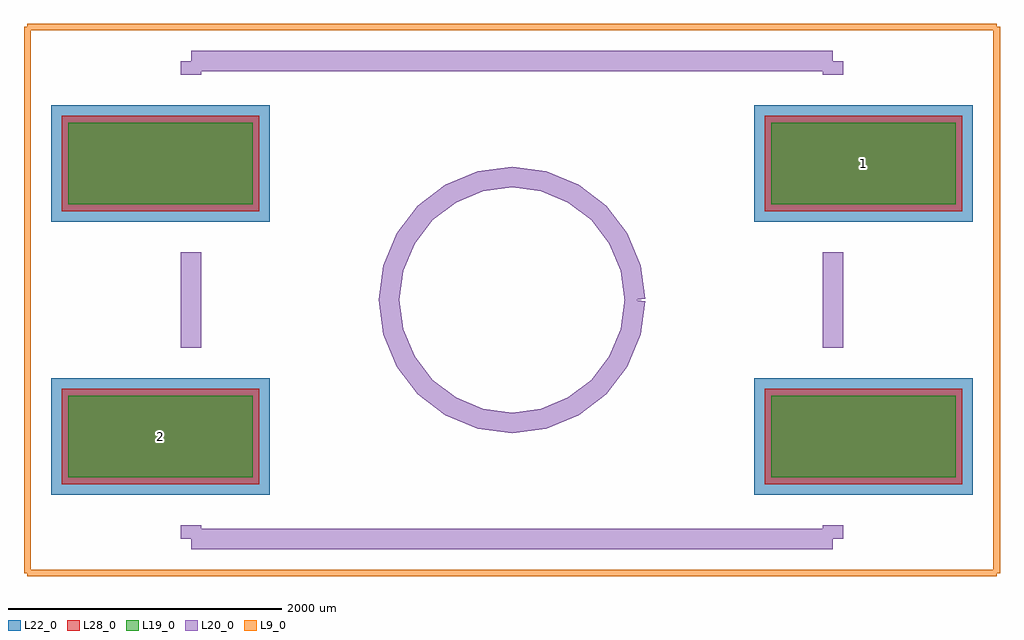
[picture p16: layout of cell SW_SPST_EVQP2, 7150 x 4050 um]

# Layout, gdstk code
import gdstk
lib = gdstk.Library(unit=1e-6, precision=1e-09)
def R(c, l, rs):  # rectangles x0, y0, x1, y1
    for r in rs: c.add(gdstk.rectangle(r[:2], r[2:], *l))
L9_0 = (9, 0)
L19_0 = (19, 0)
L20_0 = (20, 0)
L22_0 = (22, 0)
L28_0 = (28, 0)

sw_spst_evqp2 = lib.new_cell('SW_SPST_EVQP2')
R(sw_spst_evqp2, L19_0, [(-3250,-1300,-1900,-700), (1900,-1300,3250,-700), (-3250,700,-1900,1300), (1900,700,3250,1300)])
R(sw_spst_evqp2, L22_0, [(-3375,-1425,-1775,-575), (1775,-1425,3375,-575), (-3375,575,-1775,1425), (1775,575,3375,1425)])
R(sw_spst_evqp2, L28_0, [(-3300,-1350,-1850,-650), (1850,-1350,3300,-650), (-3300,650,-1850,1350), (1850,650,3300,1350)])
sw_spst_evqp2.add(gdstk.FlexPath([(900,0),(869.333,232.937),(779.423,450),(636.396,636.396),(450,779.423),(232.937,869.333),(0,900),(-232.937,869.333),(-450,779.423),(-636.396,636.396),(-779.423,450),(-869.333,232.937),(-900,0),(-869.333,-232.937),(-779.423,-450),(-636.396,-636.396),(-450,-779.423),(-232.937,-869.333),(0,-900),(232.937,-869.333),(450,-779.423),(636.396,-636.396),(779.423,-450),(869.333,-232.937),(900,0)], 149.998, ends="flush", simple_path=True, layer=20, datatype=0))  # L20_0
sw_spst_evqp2.add(gdstk.FlexPath([(-2350,-1750),(2350,-1750)], 149.998, ends="flush", simple_path=True, layer=20, datatype=0))  # L20_0
sw_spst_evqp2.add(gdstk.FlexPath([(2350,1750),(-2350,1750)], 149.998, ends="flush", simple_path=True, layer=20, datatype=0))  # L20_0
sw_spst_evqp2.add(gdstk.FlexPath([(2350,350),(2350,-350)], 149.998, ends="flush", simple_path=True, layer=20, datatype=0))  # L20_0
sw_spst_evqp2.add(gdstk.FlexPath([(-2350,350),(-2350,-350)], 149.998, ends="flush", simple_path=True, layer=20, datatype=0))  # L20_0
sw_spst_evqp2.add(gdstk.FlexPath([(-2350,1750),(-2350,1650)], 149.998, ends="flush", simple_path=True, layer=20, datatype=0))  # L20_0
sw_spst_evqp2.add(gdstk.FlexPath([(-2350,-1650),(-2350,-1750)], 149.998, ends="flush", simple_path=True, layer=20, datatype=0))  # L20_0
sw_spst_evqp2.add(gdstk.FlexPath([(2350,-1750),(2350,-1650)], 149.998, ends="flush", simple_path=True, layer=20, datatype=0))  # L20_0
sw_spst_evqp2.add(gdstk.FlexPath([(2350,1750),(2350,1650)], 149.998, ends="flush", simple_path=True, layer=20, datatype=0))  # L20_0
sw_spst_evqp2.add(gdstk.FlexPath([(-3550,-2000),(-3550,2000)], 50, ends="flush", simple_path=True, layer=9, datatype=0))  # L9_0
sw_spst_evqp2.add(gdstk.FlexPath([(3550,-2000),(-3550,-2000)], 50, ends="flush", simple_path=True, layer=9, datatype=0))  # L9_0
sw_spst_evqp2.add(gdstk.FlexPath([(3550,2000),(3550,-2000)], 50, ends="flush", simple_path=True, layer=9, datatype=0))  # L9_0
sw_spst_evqp2.add(gdstk.FlexPath([(-3550,2000),(3550,2000)], 50, ends="flush", simple_path=True, layer=9, datatype=0))  # L9_0
sw_spst_evqp2.add(gdstk.Label('2', (-2575,-1000), layer=28, texttype=0))
sw_spst_evqp2.add(gdstk.Label('1', (2575,1000), layer=28, texttype=0))
sw_spst_evqp2.add(gdstk.Label('type', (0,-3000), layer=9, texttype=0))
sw_spst_evqp2.add(gdstk.Label('devicename', (-500,3000), layer=9, texttype=0))

lib.write_gds('SW_SPST_EVQP2.gds')
